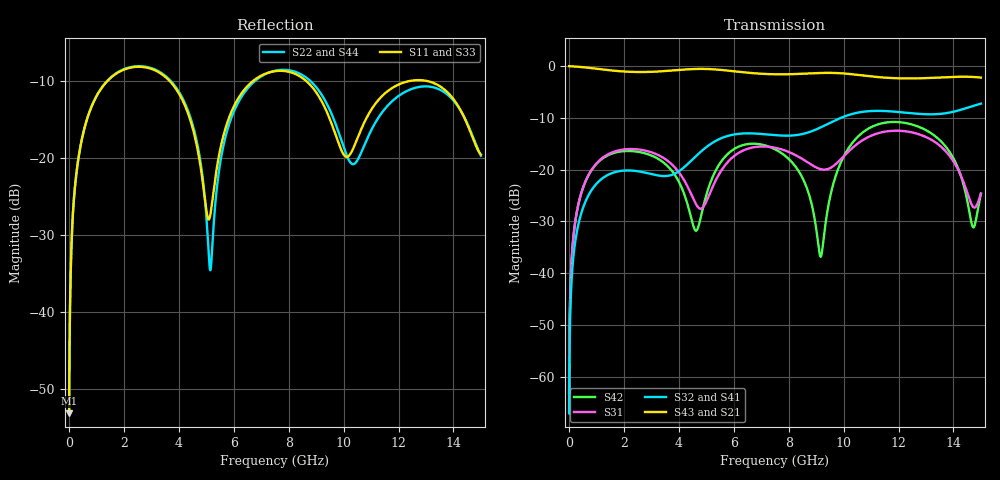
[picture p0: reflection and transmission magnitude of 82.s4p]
! Created with skrf 1.8.0 (http://scikit-rf.org).
# GHz S RI R 50.0
!freq ReS11 ImS11 ReS12 ImS12 ReS13 ImS13
! ReS14 ImS14
! ReS21 ImS21 ReS22 ImS22 ReS23 ImS23
! ReS24 ImS24
! ReS31 ImS31 ReS32 ImS32 ReS33 ImS33
! ReS34 ImS34
! ReS41 ImS41 ReS42 ImS42 ReS43 ImS43
! ReS44 ImS44
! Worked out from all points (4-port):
!   2499 points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, 5 MHz to 15 GHz, reference 50 ohm
!   strongest paths, dB at 5 MHz, 3.476 GHz, 7.19 GHz, 11.1 GHz, 15 GHz:
!     S43: 0.0, -1.0, -1.5, -2.0, -2.2
!     S21: 0.0, -1.0, -1.5, -2.0, -2.2
!     S32: -67.1, -21.2, -13.2, -8.7, -7.3
!     S41: -67.1, -21.3, -13.2, -8.7, -7.3
!     S31: -63.2, -17.9, -15.6, -13.2, -24.7
!     S42: -63.2, -18.8, -15.4, -11.6, -24.6
!   lowest |S11| = -53.1 dB at 5 MHz (marker M1), VSWR 1.00, Z = 50.2 + j0.134 ohm
!   |S11| at or under -10 dB: 3.673 GHz to 6.695 GHz (3.022 GHz wide, 58.3 % of centre); 8.647 GHz to 12.37 GHz (3.726 GHz wide, 35.5 % of centre); 13.07 GHz to end of sweep (the widest 3 of 4)
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0.005  0.00175 0.00133  0.9982 -0.00341  8.84e-05 0.00069  -8.57e-05 -0.000434
       0.9982 -0.00341  0.00175 0.00133  -8.57e-05 -0.000434  8.81e-05 0.00069
       8.84e-05 0.00069  -8.57e-05 -0.000434  0.00175 0.00133  0.9982 -0.00341
       -8.57e-05 -0.000434  8.81e-05 0.00069  0.9982 -0.00341  0.00175 0.00133
1.569404  0.2931 0.169  0.494 -0.7597  0.1397 0.0445  -0.0925 0.00278
          0.494 -0.7597  0.2967 0.1663  -0.0925 0.00286  0.1294 0.0607
          0.1397 0.0445  -0.0925 0.00286  0.2931 0.169  0.4939 -0.7597
          -0.0925 0.00278  0.1294 0.0607  0.4939 -0.7597  0.2968 0.1663
5.145894  0.0409 0.0124  -0.934 -0.0417  -0.0256 0.0546  -0.00357 0.1757
          -0.934 -0.0417  0.0187 -0.000971  -0.0026 0.1758  0.0388 0.0634
          -0.0256 0.0546  -0.0026 0.1758  0.0402 0.011  -0.9339 -0.0418
          -0.00357 0.1757  0.0388 0.0634  -0.9339 -0.0418  0.0196 -0.00221
7.815757  0.3681 -0.0156  -0.0452 0.8314  0.1209 -0.0963  0.2076 -0.0431
          -0.0452 0.8314  0.3746 -0.00676  0.208 -0.0456  0.1254 -0.0613
          0.1209 -0.0963  0.208 -0.0456  0.3672 -0.0134  -0.0441 0.8316
          0.2076 -0.0431  0.1254 -0.0613  -0.0441 0.8316  0.3746 -0.00994
9.166319  0.196 -0.1391  0.577 0.6349  -0.0716 -0.0712  0.1872 -0.1746
          0.577 0.6349  0.2091 -0.161  0.1845 -0.1773  -0.0129 -0.0064
          -0.0716 -0.0712  0.1845 -0.1773  0.1977 -0.1366  0.5785 0.6337
          0.1872 -0.1746  -0.0129 -0.0064  0.5785 0.6337  0.2063 -0.1633
10.59191  0.1338 0.0603  0.817 -0.0537  0.000756 0.1845  -0.0443 -0.3557
          0.817 -0.0537  0.102 0.0197  -0.0485 -0.3547  0.1006 0.1919
          0.000756 0.1845  -0.0485 -0.3547  0.1368 0.0605  0.8165 -0.0567
          -0.0443 -0.3557  0.1006 0.1919  0.8165 -0.0567  0.1005 0.0222
15  0.1027 -0.0243  -0.6849 -0.3645  -0.0406 0.042  -0.1961 0.3865
    -0.6849 -0.3645  0.0982 -0.0327  -0.1903 0.3897  -0.0257 0.0527
    -0.0406 0.042  -0.1903 0.3897  0.1048 -0.0337  -0.686 -0.3605
    -0.1961 0.3865  -0.0257 0.0527  -0.686 -0.3605  0.1039 -0.0394
